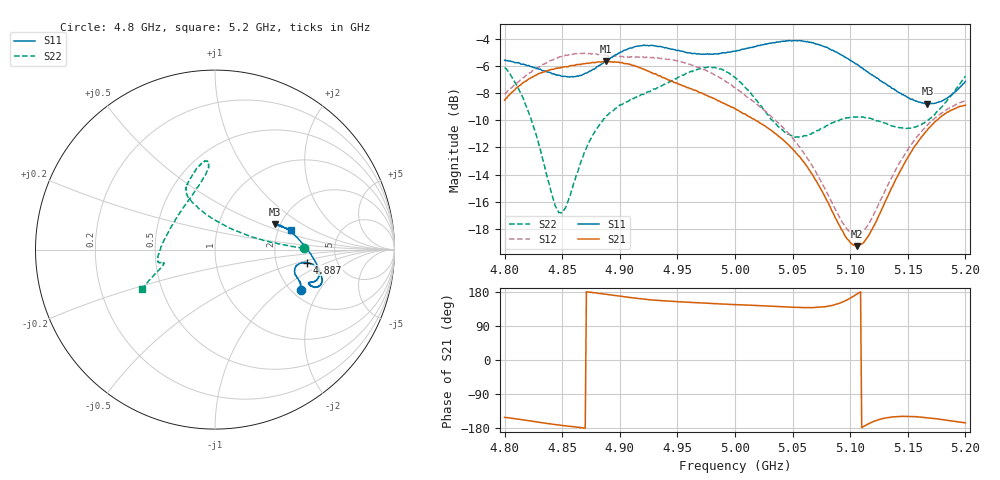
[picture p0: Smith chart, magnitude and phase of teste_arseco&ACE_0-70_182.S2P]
! Network Analyzer HP8722D
! Hewlett-Packard
! Data name: Linha & Wilkinson
! Saver's name: Rodrigo Anjos
! Comments: Teste da utilização de aquisição
! continua pelo VNA HP8722D
! Time and date: 8/5/2025 14:16
!  Frequency  S11  S21  S12  S22
# HZ  S  MA R 50
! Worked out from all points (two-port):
!   401 points, 4.8 GHz to 5.2 GHz, reference 50 ohm
!   highest |S21| = -5.65 dB at 4.888 GHz (marker M1); lowest = -19.3 dB at 5.106 GHz (marker M2)
!   |S21| within 3 dB of the highest: start of sweep to 4.988 GHz
!   lowest |S11| = -8.8 dB at 5.167 GHz (marker M3), VSWR 2.14, Z = 93.9 + j30.6 ohm
!   |S11| at or under -10 dB: nowhere
!   |S22| runs from -16.8 to -6.1 dB; largest |S21 - S12| = 1.1
!   S11 on the Smith chart (normalised r, x): 4.8 GHz: 2.23, -1.38; 4.887 GHz: 3.03, -0.60; 5.2 GHz: 2.36, +0.65
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4.8e9  0.5264 -25.1  0.375 -151.4  0.3945 8.1  0.4951 0.8
4.82e9  0.5029 -20.3  0.4461 -159.5  0.4679 5.3  0.3459 5.8
4.842e9  0.4687 -17.3  0.4876 -169.6  0.5279 1.8  0.1636 38.1
4.847e9  0.4638 -16.3  0.4942 -171.5  0.5398 0.9  0.1444 56.6
4.854e9  0.4579 -14.4  0.4985 -174.2  0.549 -0.3  0.1553 83.0
4.867e9  0.4641 -10.7  0.5107 -178.6  0.5573 -2.2  0.2275 108.8
4.887e9  0.5191 -8.0  0.5209 173.8  0.55 -3.2  0.3213 116.8
4.888e9  0.5239 -8.2  0.5215 173.4  0.5504 -3.3  0.3254 116.9
4.914e9  0.593 -12.1  0.5001 163.1  0.5412 -2.6  0.3842 114.2
4.934e9  0.5913 -16.6  0.4608 156.9  0.5368 -3.5  0.4207 109.1
4.974e9  0.5542 -19.7  0.3927 150.2  0.4852 -6.9  0.4938 96.9
5e9  0.5698 -20.5  0.3491 146.1  0.4179 -6.7  0.4556 94.8
5.044e9  0.6203 -18.5  0.2626 140.1  0.2901 1.5  0.2849 132.5
5.067e9  0.6104 -14.1  0.2 138.4  0.2152 8.6  0.2841 165.2
5.095e9  0.5419 -4.2  0.1196 155.3  0.1298 35.2  0.3206 -172.3
5.106e9  0.5089 1.1  0.1086 174.1  0.1197 56.7  0.3255 -169.0
5.116e9  0.4739 6.3  0.1189 -168.2  0.1316 75.5  0.3223 -167.2
5.134e9  0.4229 15.1  0.1708 -151.3  0.1869 94.3  0.3057 -166.3
5.152e9  0.3791 21.2  0.2382 -149.2  0.2532 99.5  0.2956 -164.6
5.167e9  0.364 22.9  0.2914 -152.5  0.3035 100.2  0.3159 -161.6
5.182e9  0.3782 20.7  0.3337 -158.1  0.3421 100.2  0.3651 -157.7
5.2e9  0.4402 14.6  0.3596 -165.9  0.3734 100.6  0.4594 -151.7
